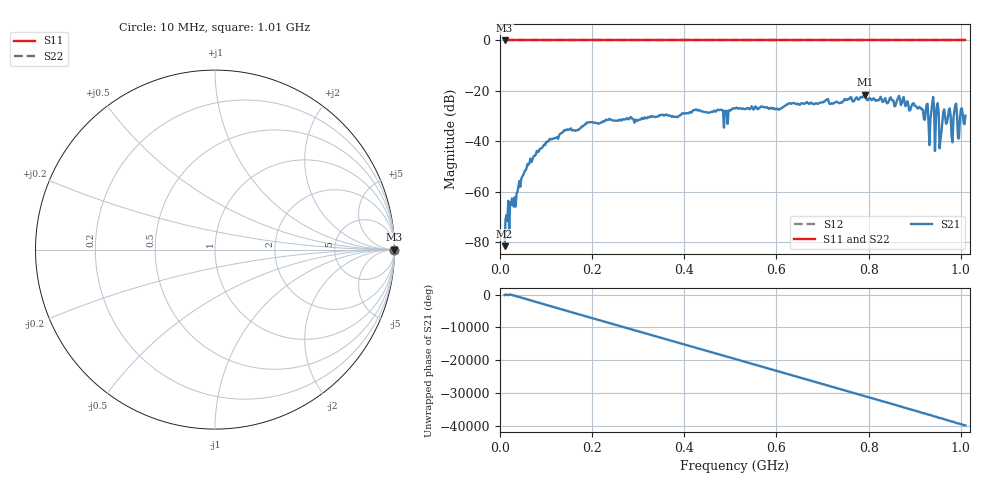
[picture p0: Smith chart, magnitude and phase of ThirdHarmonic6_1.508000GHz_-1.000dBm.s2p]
! 8/16/2025 5:45:03 PM
! C:\ANRITSUVNA\TEMP\TEMP.S2P
! CHANNEL.1
! TR.MEASUREMENT
! RAW.DATA
! RF.CORRECTION.OFF
! AVERAGING.OFF
! IF.BANDWIDTH: 5KHZ
! SWEEPTYPE:  FREQ.SWEEP(Linear)
! Reference Plane Port Info
! PORT:  PORT1  PORT2
! DISTANCE:  0  m  0  m
! TIME:  0  s  0  s
! PHASE.OFFSET:  0  deg.  0  deg.
! LOSS:  0  dB  0  dB
! REF.LOSS:  0  dB  0  dB
! REF.FREQ:  0  Hz  0  Hz
! Power Info
! POWER:  -20  dBm  -20  dBm
! EFF.POWER:  -20  dBm  -20  dBm
! SOURCE.ATTEN:  0  dB  0  dB
! TEST.ATTEN:  0  dB  0  dB
# GHZ S RI R 50.0
! FREQ.GHZ  S11RE  S11IM  S21RE  S21IM  S12RE  S12IM  S22RE  S22IM
!; PortSelection: Port_12
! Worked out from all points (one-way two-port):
!   501 points, 10 MHz to 1.01 GHz, reference 50 ohm
!   highest |S21| = -21.47 dB at 792 MHz (marker M1); lowest = -81.7 dB at 10 MHz (marker M2)
!   lowest |S11| = 0.0 dB at 10 MHz (marker M3)
!   |S11| at or under -10 dB: nowhere
!   |S22| runs from 0.0 to 0.0 dB; largest |S21 - S12| = 1.1
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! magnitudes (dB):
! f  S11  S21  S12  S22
! 10 MHz  0.0  -81.7  0.0  0.0
! 22 MHz  0.0  -64.2  0.0  0.0
! 62 MHz  0.0  -49.3  0.0  0.0
! 106 MHz  0.0  -39.9  0.0  0.0
! 178 MHz  0.0  -34.1  0.0  0.0
! 344 MHz  0.0  -30.1  0.0  0.0
! 476 MHz  0.0  -27.7  0.0  0.0
! 490 MHz  0.0  -28.0  0.0  0.0
! 510 MHz  0.0  -27.0  0.0  0.0
! 678 MHz  0.0  -25.1  0.0  0.0
! 792 MHz  0.0  -21.5  0.0  0.0
! 844 MHz  0.0  -24.1  0.0  0.0
! 900 MHz  0.0  -25.9  0.0  0.0
! 932 MHz  0.0  -41.6  0.0  0.0
! 938 MHz  0.0  -25.2  0.0  0.0
! 956 MHz  0.0  -39.2  0.0  0.0
! 964 MHz  0.0  -27.4  0.0  0.0
! 982 MHz  0.0  -40.5  0.0  0.0
! 988 MHz  0.0  -25.8  0.0  0.0
! 996 MHz  0.0  -38.9  0.0  0.0
! 1.002 GHz  0.0  -26.9  0.0  0.0
! 1.01 GHz  0.0  -29.9  0.0  0.0
